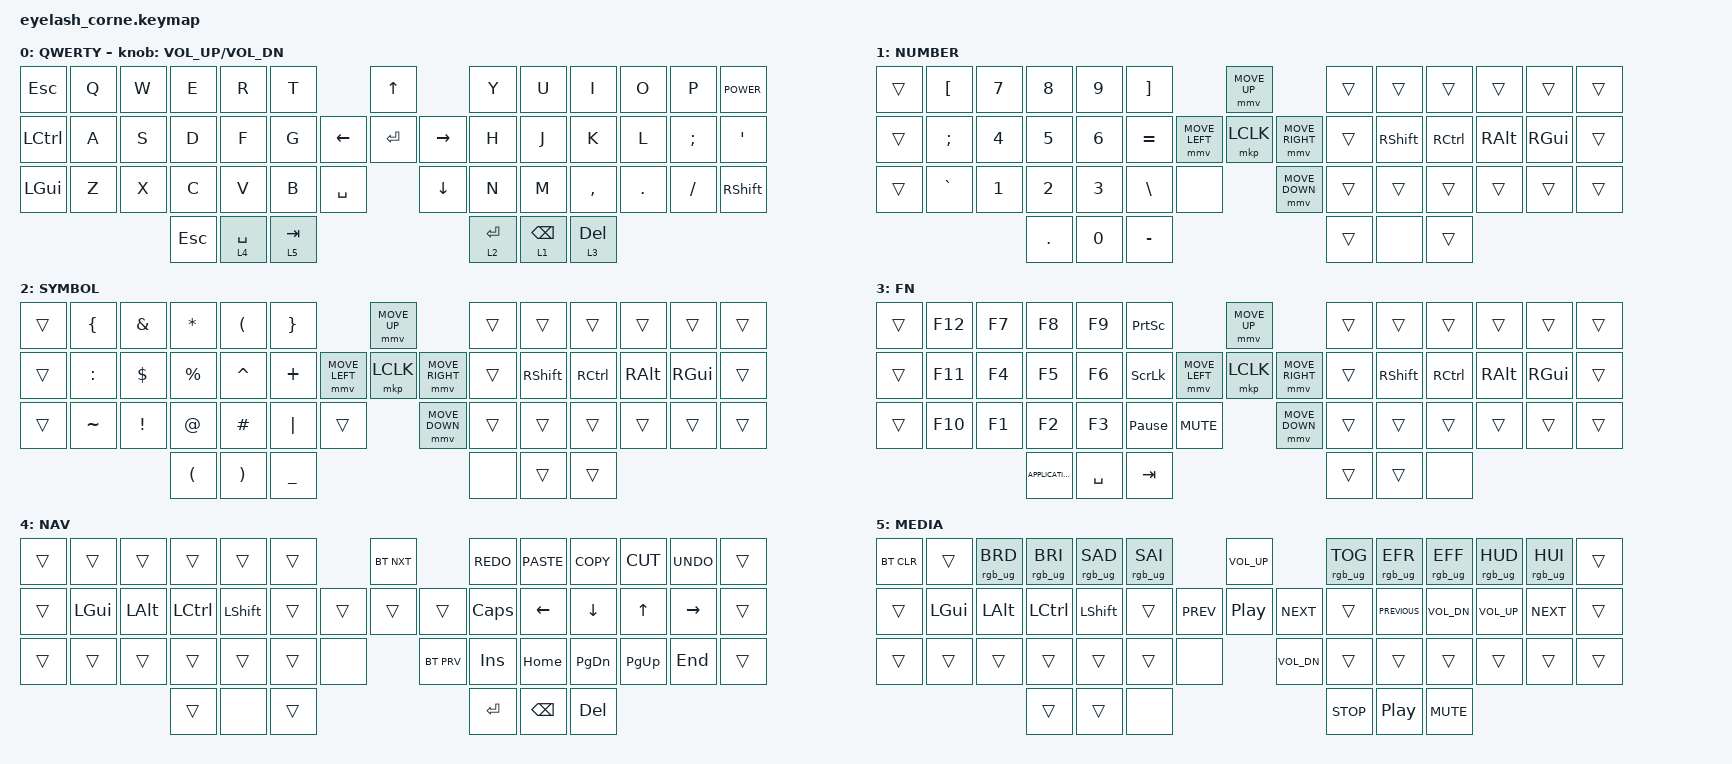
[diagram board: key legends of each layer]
#define ZMK_POINTING_DEFAULT_MOVE_VAL 1200  // 600
#define ZMK_POINTING_DEFAULT_SCRL_VAL 25   // 10

#include <input/processors.dtsi>
#include <zephyr/dt-bindings/input/input-event-codes.h>
#include <behaviors.dtsi>
#include <dt-bindings/zmk/bt.h>
#include <dt-bindings/zmk/keys.h>
#include <dt-bindings/zmk/pointing.h>
#include <dt-bindings/zmk/rgb.h>

&mmv_input_listener { input-processors = <&zip_xy_scaler 2 1>; };

&msc_input_listener { input-processors = <&zip_scroll_scaler 2 1>; };

&msc {
    acceleration-exponent = <1>;      // 0
    time-to-max-speed-ms = <100>;       // 300
    delay-ms = <0>;                   // 0
};

&mmv {
    time-to-max-speed-ms = <500>;
    acceleration-exponent = <1>;
    trigger-period-ms = <16>;
};

&soft_off { hold-time-ms = <2000>; };

/ {
    behaviors {
        td0: td0 {
            compatible = "zmk,behavior-tap-dance";
            display-name = "Shift/Caps Lock Tap Dance";
            #binding-cells = <0>;
            bindings = <&kp LGUI>, <&kp LCTRL>;
        };
    };

    rgb_encoder: rgb_encoder {
        compatible = "zmk,behavior-sensor-rotate";
        #sensor-binding-cells = <0>;
        bindings = <&rgb_ug RGB_BRI>, <&rgb_ug RGB_BRD>;
    };

    scroll_encoder: scroll_encoder {
        compatible = "zmk,behavior-sensor-rotate";
        #sensor-binding-cells = <0>;
        bindings = <&msc SCRL_DOWN>, <&msc SCRL_UP>;

        tap-ms = <100>;
    };

    combos {
        compatible = "zmk,combos";

        softoff {
            bindings = <&soft_off>;
            key-positions = <1 15 29>;
        };

        MY_LGUI {
            bindings = <&kp LEFT_GUI>;
            key-positions = <14 44>;
            layers = <0>;
        };

        MY_LALT {
            bindings = <&kp LEFT_ALT>;
            key-positions = <15 44>;
            layers = <0>;
        };

        MY_LCTRL {
            bindings = <&kp LCTRL>;
            key-positions = <16 44>;
            layers = <0>;
        };

        MY_LSHIFT {
            bindings = <&kp LSHFT>;
            key-positions = <17 44>;
            layers = <0>;
        };

        MY_RSHIFT {
            bindings = <&kp RIGHT_SHIFT>;
            key-positions = <45 23>;
            layers = <0>;
        };

        MY_RCTRL {
            bindings = <&kp RCTRL>;
            key-positions = <45 24>;
            layers = <0>;
        };

        MY_RALT {
            bindings = <&kp RALT>;
            key-positions = <45 25>;
            layers = <0>;
        };

        MY_RGUI {
            bindings = <&kp RGUI>;
            key-positions = <45 26>;
            layers = <0>;
        };
    };

    keymap {
        compatible = "zmk,keymap";

        default_layer {
            display-name = "QWERTY";
            bindings = <
&kp ESCAPE  &kp Q  &kp W  &kp E       &kp R        &kp T                             &kp UP                &kp Y        &kp U            &kp I      &kp O    &kp P     &kp K_POWER
&kp LCTRL   &kp A  &kp S  &kp D       &kp F        &kp G                   &kp LEFT  &kp ENTER  &kp RIGHT  &kp H        &kp J            &kp K      &kp L    &kp SEMI  &kp SQT
&kp LGUI    &kp Z  &kp X  &kp C       &kp V        &kp B      &kp SPACE              &kp DOWN              &kp N        &kp M            &kp COMMA  &kp DOT  &kp FSLH  &kp RIGHT_SHIFT
                          &kp ESCAPE  &lt 4 SPACE  &lt 5 TAB                                               &lt 2 ENTER  &lt 1 BACKSPACE  &lt 3 DEL
            >;

            sensor-bindings = <&inc_dec_kp C_VOLUME_UP C_VOL_DN>;
        };

        num_layer {
            display-name = "NUMBER";
            bindings = <
&trans  &kp LEFT_BRACKET  &kp NUMBER_7  &kp NUMBER_8  &kp NUMBER_9  &kp RIGHT_BRACKET                           &mmv MOVE_UP                     &trans  &trans           &trans             &trans         &trans         &trans
&trans  &kp SEMICOLON     &kp NUMBER_4  &kp NUMBER_5  &kp NUMBER_6  &kp EQUAL                   &mmv MOVE_LEFT  &mkp LCLK       &mmv MOVE_RIGHT  &trans  &kp RIGHT_SHIFT  &kp RIGHT_CONTROL  &kp RIGHT_ALT  &kp RIGHT_GUI  &trans
&trans  &kp GRAVE         &kp NUMBER_1  &kp NUMBER_2  &kp NUMBER_3  &kp BACKSLASH      &none                    &mmv MOVE_DOWN                   &trans  &trans           &trans             &trans         &trans         &trans
                                        &kp PERIOD    &kp NUMBER_0  &kp MINUS                                                                    &trans  &none            &trans
            >;
        };

        sym_layer {
            display-name = "SYMBOL";
            bindings = <
&trans  &kp LEFT_BRACE  &kp AMPERSAND    &kp ASTERISK          &kp LEFT_PARENTHESIS   &kp RIGHT_BRACE                            &mmv MOVE_UP                     &trans  &trans           &trans             &trans         &trans         &trans
&trans  &kp COLON       &kp DOLLAR       &kp PERCENT           &kp CARET              &kp PLUS                   &mmv MOVE_LEFT  &mkp LCLK       &mmv MOVE_RIGHT  &trans  &kp RIGHT_SHIFT  &kp RIGHT_CONTROL  &kp RIGHT_ALT  &kp RIGHT_GUI  &trans
&trans  &kp TILDE       &kp EXCLAMATION  &kp AT_SIGN           &kp HASH               &kp PIPE         &trans                    &mmv MOVE_DOWN                   &trans  &trans           &trans             &trans         &trans         &trans
                                         &kp LEFT_PARENTHESIS  &kp RIGHT_PARENTHESIS  &kp UNDER                                                                   &none   &trans           &trans
            >;
        };

        fn_layer {
            display-name = "FN";
            bindings = <
&trans  &kp F12  &kp F7  &kp F8             &kp F9     &kp PRINTSCREEN                                &mmv MOVE_UP                     &trans  &trans     &trans     &trans    &trans    &trans
&trans  &kp F11  &kp F4  &kp F5             &kp F6     &kp SCROLLLOCK                 &mmv MOVE_LEFT  &mkp LCLK       &mmv MOVE_RIGHT  &trans  &kp RSHFT  &kp RCTRL  &kp RALT  &kp RGUI  &trans
&trans  &kp F10  &kp F1  &kp F2             &kp F3     &kp PAUSE_BREAK  &kp C_MUTE                    &mmv MOVE_DOWN                   &trans  &trans     &trans     &trans    &trans    &trans
                         &kp K_APPLICATION  &kp SPACE  &kp TAB                                                                         &trans  &trans     &none
            >;
        };

        nav_layer {
            bindings = <
&trans  &trans        &trans    &trans     &trans     &trans                   &bt BT_NXT          &kp K_REDO  &kp K_PASTE    &kp K_COPY     &kp K_CUT     &kp K_UNDO  &trans
&trans  &kp LEFT_GUI  &kp LALT  &kp LCTRL  &kp LSHFT  &trans           &trans  &trans      &trans  &kp CAPS    &kp LEFT       &kp DOWN       &kp UP_ARROW  &kp RIGHT   &trans
&trans  &trans        &trans    &trans     &trans     &trans  &none            &bt BT_PRV          &kp INS     &kp HOME       &kp PAGE_DOWN  &kp PAGE_UP   &kp END     &trans
                                &trans     &none      &trans                                       &kp ENTER   &kp BACKSPACE  &kp DEL
            >;

            label = "NAV";
        };

        media_layer {
            bindings = <
&bt BT_CLR  &trans        &rgb_ug RGB_BRD  &rgb_ug RGB_BRI   &rgb_ug RGB_SAD  &rgb_ug RGB_SAI                       &kp C_VOLUME_UP               &rgb_ug RGB_TOG  &rgb_ug RGB_EFR   &rgb_ug RGB_EFF  &rgb_ug RGB_HUD  &rgb_ug RGB_HUI  &trans
&trans      &kp LEFT_GUI  &kp LEFT_ALT     &kp LEFT_CONTROL  &kp LEFT_SHIFT   &trans                    &kp C_PREV  &kp C_PLAY_PAUSE  &kp C_NEXT  &trans           &kp C_PREVIOUS    &kp C_VOL_DN     &kp C_VOL_UP     &kp C_NEXT       &trans
&trans      &trans        &trans           &trans            &trans           &trans           &none                &kp C_VOL_DN                  &trans           &trans            &trans           &trans           &trans           &trans
                                           &trans            &trans           &none                                                               &kp C_STOP       &kp C_PLAY_PAUSE  &kp C_MUTE
            >;

            label = "MEDIA";
        };
    };
};
